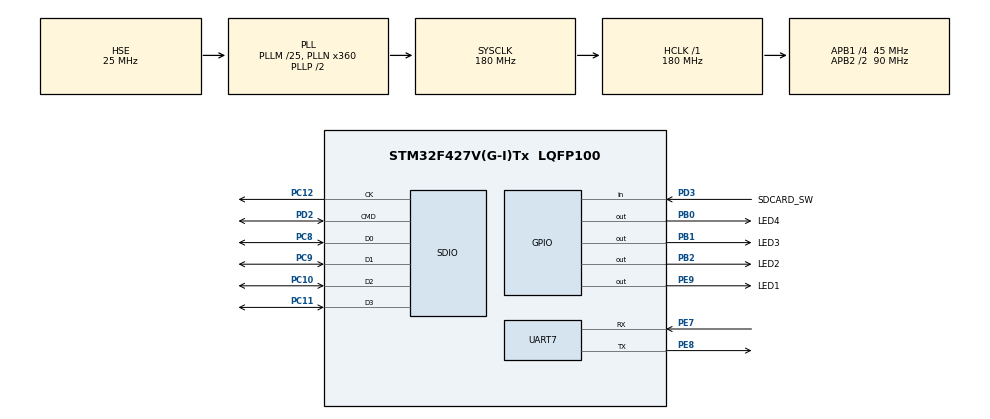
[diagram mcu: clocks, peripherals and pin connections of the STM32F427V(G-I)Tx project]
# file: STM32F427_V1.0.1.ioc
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Dma.Request0=SDIO_RX
Dma.Request1=SDIO_TX
Dma.SDIO_RX.0.Direction=DMA_PERIPH_TO_MEMORY
Dma.SDIO_RX.0.FIFOMode=DMA_FIFOMODE_ENABLE
Dma.SDIO_RX.0.FIFOThreshold=DMA_FIFO_THRESHOLD_FULL
Dma.SDIO_RX.0.Instance=DMA2_Stream3
Dma.SDIO_RX.0.MemBurst=DMA_MBURST_INC4
Dma.SDIO_RX.0.MemDataAlignment=DMA_MDATAALIGN_WORD
Dma.SDIO_RX.0.MemInc=DMA_MINC_ENABLE
Dma.SDIO_RX.0.Mode=DMA_PFCTRL
Dma.SDIO_RX.0.PeriphBurst=DMA_PBURST_INC4
Dma.SDIO_RX.0.PeriphDataAlignment=DMA_PDATAALIGN_WORD
Dma.SDIO_RX.0.PeriphInc=DMA_PINC_DISABLE
Dma.SDIO_RX.0.Priority=DMA_PRIORITY_LOW
Dma.SDIO_TX.1.Direction=DMA_MEMORY_TO_PERIPH
Dma.SDIO_TX.1.FIFOMode=DMA_FIFOMODE_ENABLE
Dma.SDIO_TX.1.FIFOThreshold=DMA_FIFO_THRESHOLD_FULL
Dma.SDIO_TX.1.Instance=DMA2_Stream6
Dma.SDIO_TX.1.MemBurst=DMA_MBURST_INC4
Dma.SDIO_TX.1.MemDataAlignment=DMA_MDATAALIGN_WORD
Dma.SDIO_TX.1.MemInc=DMA_MINC_ENABLE
Dma.SDIO_TX.1.Mode=DMA_PFCTRL
Dma.SDIO_TX.1.PeriphBurst=DMA_PBURST_INC4
Dma.SDIO_TX.1.PeriphDataAlignment=DMA_PDATAALIGN_WORD
Dma.SDIO_TX.1.PeriphInc=DMA_PINC_DISABLE
Dma.SDIO_TX.1.Priority=DMA_PRIORITY_LOW
FATFS.USE_DMA_CODE_SD=1
FATFS._CODE_PAGE=936
FATFS._USE_LFN=2
Mcu.Family=STM32F4
Mcu.Name=STM32F427V(G-I)Tx
Mcu.Package=LQFP100
NVIC.DMA2_Stream3_IRQn=true\:2\:0\:true\:false\:true\:false\:true
NVIC.DMA2_Stream6_IRQn=true\:2\:0\:true\:false\:true\:false\:true
NVIC.PriorityGroup=NVIC_PRIORITYGROUP_4
NVIC.SDIO_IRQn=true\:0\:0\:false\:false\:true\:true\:true
PA13.Mode=Serial_Wire
PA13.Signal=SYS_JTMS-SWDIO
PA14.Mode=Serial_Wire
PA14.Signal=SYS_JTCK-SWCLK
PB0.GPIO_Label=LED4
PB0.Signal=GPIO_Output
PB1.GPIO_Label=LED3
PB1.Signal=GPIO_Output
PB2/BOOT1.GPIO_Label=LED2
PB2/BOOT1.Signal=GPIO_Output
PC10.Mode=SD_4_bits_Wide_bus
PC10.Signal=SDIO_D2
PC11.Mode=SD_4_bits_Wide_bus
PC11.Signal=SDIO_D3
PC12.Mode=SD_4_bits_Wide_bus
PC12.Signal=SDIO_CK
PC14/OSC32_IN.Mode=LSE-External-Clock-Source
PC14/OSC32_IN.Signal=RCC_OSC32_IN
PC15/OSC32_OUT.Mode=LSE-External-Clock-Source
PC15/OSC32_OUT.Signal=RCC_OSC32_OUT
PC8.Mode=SD_4_bits_Wide_bus
PC8.Signal=SDIO_D0
PC9.Mode=SD_4_bits_Wide_bus
PC9.Signal=SDIO_D1
PD2.Mode=SD_4_bits_Wide_bus
PD2.Signal=SDIO_CMD
PD3.GPIO_Label=SDCARD_SW
PD3.Signal=GPIO_Input
PE7.Mode=Asynchronous
PE7.Signal=UART7_RX
PE8.Mode=Asynchronous
PE8.Signal=UART7_TX
PE9.GPIO_Label=LED1
PE9.Signal=GPIO_Output
PH0/OSC_IN.Mode=HSE-External-Clock-Source
PH0/OSC_IN.Signal=RCC_OSC_IN
PH1/OSC_OUT.Mode=HSE-External-Clock-Source
PH1/OSC_OUT.Signal=RCC_OSC_OUT
ProjectManager.HeapSize=0x400
ProjectManager.StackSize=0x1000
ProjectManager.TargetToolchain=MDK-ARM V5.27
RCC.48MHZClocksFreq_Value=45000000
RCC.AHBFreq_Value=180000000
RCC.APB1CLKDivider=RCC_HCLK_DIV4
RCC.APB1Freq_Value=45000000
RCC.APB1TimFreq_Value=90000000
RCC.APB2CLKDivider=RCC_HCLK_DIV2
RCC.APB2Freq_Value=90000000
RCC.APB2TimFreq_Value=180000000
RCC.CortexFreq_Value=180000000
RCC.HCLKFreq_Value=180000000
RCC.HSE_VALUE=25000000
RCC.HSI_VALUE=16000000
RCC.LSE_VALUE=32768
RCC.PLLM=25
RCC.PLLN=360
RCC.PLLQ=8
RCC.PLLSourceVirtual=RCC_PLLSOURCE_HSE
RCC.SYSCLKFreq_VALUE=180000000
RCC.SYSCLKSource=RCC_SYSCLKSOURCE_PLLCLK
RCC.VCOOutputFreq_Value=360000000
SDIO.ClockDiv=0
UART7.VirtualMode=Asynchronous
VP_FATFS_VS_SDIO.Mode=SDIO
board=custom

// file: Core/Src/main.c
/* USER CODE BEGIN Header */
/**
  ******************************************************************************
  * @file           : main.c
  * @brief          : Main program body
  ******************************************************************************
  * @attention
  *
  * <h2><center>&copy; Copyright (c) 2021 STMicroelectronics.
  * All rights reserved.</center></h2>
  *
  * This software component is licensed by ST under BSD 3-Clause license,
  * the "License"; You may not use this file except in compliance with the
  * License. You may obtain a copy of the License at:
  *                        opensource.org/licenses/BSD-3-Clause
  *
  ******************************************************************************
  */
/* USER CODE END Header */
#include "main.h"
#include "dma.h"
#include "fatfs.h"
#include "sdio.h"
#include "usart.h"
#include "gpio.h"

/* USER CODE BEGIN PV */
typedef enum {FAILED = 0, PASSED = !FAILED} TestStatus;
#define BLOCK_SIZE 512 // SD卡块大小
#define NUMBER_OF_BLOCKS 8 // 测试块数量 (小于 15)
#define WRITE_READ_ADDRESS 0x00002000 // 测试读写地址
__align(4) uint32_t Buffer_Block_Tx[BLOCK_SIZE*NUMBER_OF_BLOCKS]; // 写数据缓存
__align(4) uint32_t Buffer_Block_Rx[BLOCK_SIZE*NUMBER_OF_BLOCKS]; // 读数据缓存
HAL_StatusTypeDef sd_status; // HAL库函数操作 SD卡函数返回值：操作结果
TestStatus test_status; // 数据测试结果

FATFS fs; // Work area (file system object) for logical drive
FIL fil; // file objects
uint32_t byteswritten; /* File write counts */
uint32_t bytesread; /* File read counts */
uint8_t wtext[] = "\
This is STM32 working with FatFs,This is STM32 working with FatFs,This is STM32 working with FatFs,This is STM32 working with FatFs,This is STM32 working with FatFs,This is STM32 working with FatFs,This is STM32 working with FatFs  \
This is STM32 working with FatFs,This is STM32 working with FatFs,This is STM32 working with FatFs,This is STM32 working with FatFs,This is STM32 working with FatFs,This is STM32 working with FatFs,This is STM32 working with FatFs  \
This is STM32 working with FatFs,This is STM32 working with FatFs,This is STM32 working with FatFs,This is STM32 working with FatFs,This is STM32 working with FatFs,This is STM32 working with FatFs,This is STM32 working with FatFs  \
This is STM32 working with FatFs,This is STM32 working with FatFs,This is STM32 working with FatFs,This is STM32 working with FatFs,This is STM32 working with FatFs,This is STM32 working with FatFs,This is STM32 working with FatFs  \
This is STM32 working with FatFs,This is STM32 working with FatFs,This is STM32 working with FatFs,This is STM32 working with FatFs,This is STM32 working with FatFs,This is STM32 working with FatFs,This is STM32 working with FatFs  \
This is STM32 working with FatFs,This is STM32 working with FatFs,This is STM32 working with FatFs,This is STM32 working with FatFs,This is STM32 working with FatFs,This is STM32 working with FatFs,This is STM32 working with FatFs  \
This is STM32 working with FatFs,This is STM32 working with FatFs,This is STM32 working with FatFs,This is STM32 working with FatFs,This is STM32 working with FatFs,This is STM32 working with FatFs,This is STM32 working with FatFs  \
This is STM32 working with FatFs,This is STM32 working with FatFs,This is STM32 working with FatFs,This is STM32 working with FatFs,This is STM32 working with FatFs,This is STM32 working with FatFs,This is STM32 working with FatFs  \
This is STM32 working with FatFs,This is STM32 working with FatFs,This is STM32 working with FatFs,This is STM32 working with FatFs,This is STM32 working with FatFs,This is STM32 working with FatFs,This is STM32 working with FatFs  \
This is STM32 working with FatFs,This is STM32 working with FatFs,This is STM32 working with FatFs,This is STM32 working with FatFs,This is STM32 working with FatFs,This is STM32 working with FatFs,This is STM32 working with FatFs  \
This is STM32 working with FatFs,This is STM32 working with FatFs,This is STM32 working with FatFs,This is STM32 working with FatFs,This is STM32 working with FatFs,This is STM32 working with FatFs,This is STM32 working with FatFs  \
This is STM32 working with FatFs,This is STM32 working with FatFs,This is STM32 working with FatFs,This is STM32 working with FatFs,This is STM32 working with FatFs,This is STM32 working with FatFs,This is STM32 working with FatFs  \
This is STM32 working with FatFs,This is STM32 working with FatFs,This is STM32 working with FatFs,This is STM32 working with FatFs,This is STM32 working with FatFs,This is STM32 working with FatFs,This is STM32 working with FatFs  \
This is STM32 working with FatFs,This is STM32 working with FatFs,This is STM32 working with FatFs,This is STM32 working with FatFs,This is STM32 working with FatFs,This is STM32 working with FatFs,This is STM32 working with FatFs  \
This is STM32 working with FatFs,This is STM32 working with FatFs,This is STM32 working with FatFs,This is STM32 working with FatFs,This is STM32 working with FatFs,This is STM32 working with FatFs,This is STM32 working with FatFs  \
This is STM32 working with FatFs,This is STM32 working with FatFs,This is STM32 working with FatFs,This is STM32 working with FatFs,This is STM32 working with FatFs,This is STM32 working with FatFs,This is STM32 working with FatFs  \
This is STM32 working with FatFs,This is STM32 working with FatFs,This is STM32 working with FatFs,This is STM32 working with FatFs,This is STM32 working with FatFs,This is STM32 working with FatFs,This is STM32 working with FatFs  \
This is STM32 working with FatFs,This is STM32 working with FatFs,This is STM32 working with FatFs,This is STM32 working with FatFs,This is STM32 working with FatFs,This is STM32 working with FatFs,This is STM32 working with FatFs  \
This is STM32 working with FatFs,This is STM32 working with FatFs,This is STM32 working with FatFs,This is STM32 working with FatFs,This is STM32 working with FatFs,This is STM32 working with FatFs,This is STM32 working with FatFs  \
This is STM32 working with FatFs,This is STM32 working with FatFs,This is STM32 working with FatFs,This is STM32 working with FatFs,This is STM32 working with FatFs,This is STM32 working with FatFs,This is STM32 working with FatFs  \
This is STM32 working with FatFs,This is STM32 working with FatFs,This is STM32 working with FatFs,This is STM32 working with FatFs,This is STM32 working with FatFs,This is STM32 working with FatFs,This is STM32 working with FatFs  \
This is STM32 working with FatFs,This is STM32 working with FatFs,This is STM32 working with FatFs,This is STM32 working with FatFs,This is STM32 working with FatFs,This is STM32 working with FatFs,This is STM32 working with FatFs  \
This is STM32 working with FatFs,This is STM32 working with FatFs,This is STM32 working with FatFs,This is STM32 working with FatFs,This is STM32 working with FatFs,This is STM32 working with FatFs,This is STM32 working with FatFs  \
This is STM32 working with FatFs,This is STM32 working with FatFs,This is STM32 working with FatFs,This is STM32 working with FatFs,This is STM32 working with FatFs,This is STM32 working with FatFs,This is STM32 working with FatFs  \
This is STM32 working with FatFs,This is STM32 working with FatFs,This is STM32 working with FatFs,This is STM32 working with FatFs,This is STM32 working with FatFs,This is STM32 working with FatFs,This is STM32 working with FatFs  \
This is STM32 working with FatFs,This is STM32 working with FatFs,This is STM32 working with FatFs,This is STM32 working with FatFs,This is STM32 working with FatFs,This is STM32 working with FatFs,This is STM32 working with FatFs  \
This is STM32 working with FatFs,This is STM32 working with FatFs,This is STM32 working with FatFs,This is STM32 working with FatFs,This is STM32 working with FatFs,This is STM32 working with FatFs,This is STM32 working with FatFs  \
This is STM32 working with FatFs,This is STM32 working with FatFs,This is STM32 working with FatFs,This is STM32 working with FatFs,This is STM32 working with FatFs,This is STM32 working with FatFs,This is STM32 working with FatFs  \
This is STM32 working with FatFs,This is STM32 working with FatFs,This is STM32 working with FatFs,This is STM32 working with FatFs,This is STM32 working with FatFs,This is STM32 working with FatFs,This is STM32 working with FatFs  \
This is STM32 working with FatFs,This is STM32 working with FatFs,This is STM32 working with FatFs,This is STM32 working with FatFs,This is STM32 working with FatFs,This is STM32 working with FatFs,This is STM32 working with FatFs  \
This is STM32 working with FatFs,This is STM32 working with FatFs,This is STM32 working with FatFs,This is STM32 working with FatFs,This is STM32 working with FatFs,This is STM32 working with FatFs,This is STM32 working with FatFs  \
This is STM32 working with FatFs,This is STM32 working with FatFs,This is STM32 working with FatFs,This is STM32 working with FatFs,This is STM32 working with FatFs,This is STM32 working with FatFs,This is STM32 working with FatFs  \
This is STM32 working with FatFs,This is STM32 working with FatFs,This is STM32 working with FatFs,This is STM32 working with FatFs,This is STM32 working with FatFs,This is STM32 working with FatFs,This is STM32 working with FatFs  \
This is STM32 working with FatFs,This is STM32 working with FatFs,This is STM32 working with FatFs,This is STM32 working with FatFs,This is STM32 working with FatFs,This is STM32 working with FatFs,This is STM32 working with FatFs  \
This is STM32 working with FatFs,This is STM32 working with FatFs,This is STM32 working with FatFs,This is STM32 working with FatFs,This is STM32 working with FatFs,This is STM32 working with FatFs,This is STM32 working with FatFs  \
This is STM32 working with FatFs,This is STM32 working with FatFs,This is STM32 working with FatFs,This is STM32 working with FatFs,This is STM32 working with FatFs,This is STM32 working with FatFs,This is STM32 working with FatFs  \
This is STM32 working with FatFs,This is STM32 working with FatFs,This is STM32 working with FatFs,This is STM32 working with FatFs,This is STM32 working with FatFs,This is STM32 working with FatFs,This is STM32 working with FatFs  \
This is STM32 working with FatFs,This is STM32 working with FatFs,This is STM32 working with FatFs,This is STM32 working with FatFs,This is STM32 working with FatFs,This is STM32 working with FatFs,This is STM32 working with FatFs  \
This is STM32 working with FatFs,This is STM32 working with FatFs,This is STM32 working with FatFs,This is STM32 working with FatFs,This is STM32 working with FatFs,This is STM32 working with FatFs,This is STM32 working with FatFs  \
This is STM32 working with FatFs,This is STM32 working with FatFs,This is STM32 working with FatFs,This is STM32 working with FatFs,This is STM32 working with FatFs,This is STM32 working with FatFs,This is STM32 working with FatFs  \
This is STM32 working with FatFs,This is STM32 working with FatFs,This is STM32 working with FatFs,This is STM32 working with FatFs,This is STM32 working with FatFs,This is STM32 working with FatFs,This is STM32 working with FatFs  \
This is STM32 working with FatFs,This is STM32 working with FatFs,This is STM32 working with FatFs,This is STM32 working with FatFs,This is STM32 working with FatFs,This is STM32 working with FatFs,This is STM32 working with FatFs  \
This is STM32 working with FatFs,This is STM32 working with FatFs,This is STM32 working with FatFs,This is STM32 working with FatFs,This is STM32 working with FatFs,This is STM32 working with FatFs,This is STM32 working with FatFs  \
This is STM32 working with FatFs,This is STM32 working with FatFs,This is STM32 working with FatFs,This is STM32 working with FatFs,This is STM32 working with FatFs,This is STM32 working with FatFs,This is STM32 working with FatFs  \
This is STM32 working with FatFs,This is STM32 working with FatFs,This is STM32 working with FatFs,This is STM32 working with FatFs,This is STM32 working with FatFs,This is STM32 working with FatFs,This is STM32 working with FatFs  \
This is STM32 working with FatFs,This is STM32 working with FatFs,This is STM32 working with FatFs,This is STM32 working with FatFs,This is STM32 working with FatFs,This is STM32 working with FatFs,This is STM32 working with FatFs  \
This is STM32 working with FatFs,This is STM32 working with FatFs,This is STM32 working with FatFs,This is STM32 working with FatFs,This is STM32 working with FatFs,This is STM32 working with FatFs,This is STM32 working with FatFs  \
This is STM32 working with FatFs,This is STM32 working with FatFs,This is STM32 working with FatFs,This is STM32 working with FatFs,This is STM32 working with FatFs,This is STM32 working with FatFs,This is STM32 working with FatFs  \
This is STM32 working with FatFs,This is STM32 working with FatFs,This is STM32 working with FatFs,This is STM32 working with FatFs,This is STM32 working with FatFs,This is STM32 working with FatFs,This is STM32 working with FatFs  \
This is STM32 working with FatFs,This is STM32 working with FatFs,This is STM32 working with FatFs,This is STM32 working with FatFs,This is STM32 working with FatFs,This is STM32 working with FatFs,This is STM32 working with FatFs  \
This is STM32 working with FatFs,This is STM32 working with FatFs,This is STM32 working with FatFs,This is STM32 working with FatFs,This is STM32 working with FatFs,This is STM32 working with FatFs,This is STM32 working with FatFs  \
This is STM32 working with FatFs,This is STM32 working with FatFs,This is STM32 working with FatFs,This is STM32 working with FatFs,This is STM32 working with FatFs,This is STM32 working with FatFs,This is STM32 working with FatFs  \
This is STM32 working with FatFs,This is STM32 working with FatFs,This is STM32 working with FatFs,This is STM32 working with FatFs,This is STM32 working with FatFs,This is STM32 working with FatFs,This is STM32 working with FatFs  \
This is STM32 working with FatFs,This is STM32 working with FatFs,This is STM32 working with FatFs,This is STM32 working with FatFs,This is STM32 working with FatFs,This is STM32 working with FatFs,This is STM32 working with FatFs  \
This is STM32 working with FatFs,This is STM32 working with FatFs,This is STM32 working with FatFs,This is STM32 working with FatFs,This is STM32 working with FatFs,This is STM32 working with FatFs,This is STM32 working with FatFs  \
This is STM32 working with FatFs,This is STM32 working with FatFs,This is STM32 working with FatFs,This is STM32 working with FatFs,This is STM32 working with FatFs,This is STM32 working with FatFs,This is STM32 working with FatFs  \
This is STM32 working with FatFs,This is STM32 working with FatFs,This is STM32 working with FatFs,This is STM32 working with FatFs,This is STM32 working with FatFs,This is STM32 working with FatFs,This is STM32 working with FatFs  \
This is STM32 working with FatFs,This is STM32 working with FatFs,This is STM32 working with FatFs,This is STM32 working with FatFs,This is STM32 working with FatFs,This is STM32 working with FatFs,This is STM32 working with FatFs  \
This is STM32 working with FatFs,This is STM32 working with FatFs,This is STM32 working with FatFs,This is STM32 working with FatFs,This is STM32 working with FatFs,This is STM32 working with FatFs,This is STM32 working with FatFs  \
This is STM32 working with FatFs,This is STM32 working with FatFs,This is STM32 working with FatFs,This is STM32 working with FatFs,This is STM32 working with FatFs,This is STM32 working with FatFs,This is STM32 working with FatFs  \
This is STM32 working with FatFs,This is STM32 working with FatFs,This is STM32 working with FatFs,This is STM32 working with FatFs,This is STM32 working with FatFs,This is STM32 working with FatFs,This is STM32 working with FatFs  \
This is STM32 working with FatFs,This is STM32 working with FatFs,This is STM32 working with FatFs,This is STM32 working with FatFs,This is STM32 working with FatFs,This is STM32 working with FatFs,This is STM32 working with FatFs  \
This is STM32 working with FatFs,This is STM32 working with FatFs,This is STM32 working with FatFs,This is STM32 working with FatFs,This is STM32 working with FatFs,This is STM32 working with FatFs,This is STM32 working with FatFs  \
This is STM32 working with FatFs,This is STM32 working with FatFs,This is STM32 working with FatFs,This is STM32 working with FatFs,This is STM32 working with FatFs,This is STM32 working with FatFs,This is STM32 working with FatFs  \
This is STM32 working with FatFs,This is STM32 working with FatFs,This is STM32 working with FatFs,This is STM32 working with FatFs,This is STM32 working with FatFs,This is STM32 working with FatFs,This is STM32 working with FatFs  \
This is STM32 working with FatFs,This is STM32 working with FatFs,This is STM32 working with FatFs,This is STM32 working with FatFs,This is STM32 working with FatFs,This is STM32 working with FatFs,This is STM32 working with FatFs  \
This is STM32 working with FatFs,This is STM32 working with FatFs,This is STM32 working with FatFs,This is STM32 working with FatFs,This is STM32 working with FatFs,This is STM32 working with FatFs,This is STM32 working with FatFs  \
This is STM32 working with FatFs,This is STM32 working with FatFs,This is STM32 working with FatFs,This is STM32 working with FatFs,This is STM32 working with FatFs,This is STM32 working with FatFs,This is STM32 working with FatFs  \
This is STM32 working with FatFs,This is STM32 working with FatFs,This is STM32 working with FatFs,This is STM32 working with FatFs,This is STM32 working with FatFs,This is STM32 working with FatFs,This is STM32 working with FatFs  \
This is STM32 working with FatFs,This is STM32 working with FatFs,This is STM32 working with FatFs,This is STM32 working with FatFs,This is STM32 working with FatFs,This is STM32 working with FatFs,This is STM32 working with FatFs  \
This is STM32 working with FatFs,This is STM32 working with FatFs,This is STM32 working with FatFs,This is STM32 working with FatFs,This is STM32 working with FatFs,This is STM32 working with FatFs,This is STM32 working with FatFs  \
This is STM32 working with FatFs,This is STM32 working with FatFs,This is STM32 working with FatFs,This is STM32 working with FatFs,This is STM32 working with FatFs,This is STM32 working with FatFs,This is STM32 working with FatFs  \
This is STM32 working with FatFs,This is STM32 working with FatFs,This is STM32 working with FatFs,This is STM32 working with FatFs,This is STM32 working with FatFs,This is STM32 working with FatFs,This is STM32 working with FatFs"; /* File write buffer */

//uint8_t wtext1[buf_size*1024]={0};
//uint8_t wtext2[buf_size*1024]={0};

uint8_t wtext1[]="1111this is a test string\r\n";
uint8_t wtext2[]="2222this is a test string\r\n";

DAT_type ha_dat;
char hd_buf[1024]={0};

uint8_t rtext[100]; /* File read buffers */
char filename[] = "STM32cube.txt";

#define	buf_size	3200	//缓冲区大小，

DAT_ascii_type dat_ascii[buf_size];

/* USER CODE END PV */

void SystemClock_Config(void);

/* USER CODE BEGIN 0 */

uint8_t eBuffercmp(uint32_t* pBuffer, uint32_t BufferLength)
{
	while (BufferLength--)
	{ /* SD卡擦除后的可能值为 0xff或 0 */
		if ((*pBuffer != 0xFFFFFFFF) && (*pBuffer != 0))
		{
			return 0;
		}
		pBuffer++;
	} return 1;
}

void SD_EraseTest(void)
{
	sd_status=HAL_SD_Erase(&hsd,WRITE_READ_ADDRESS,WRITE_READ_ADDRESS+NUMBER_OF_BLOCKS*4);
	log_info("erase status:%d\r\n",sd_status);
	HAL_Delay(500);
	if (sd_status == HAL_OK)
	{
		sd_status = HAL_SD_ReadBlocks(&hsd,(uint8_t *)Buffer_Block_Rx,WRITE_READ_ADDRESS,NUMBER_OF_BLOCKS,0xffff);
		log_info("erase read status:%d\r\n",sd_status);
		test_status = eBuffercmp(Buffer_Block_Rx,BLOCK_SIZE*NUMBER_OF_BLOCKS);
		if(test_status == PASSED)
			log_info("》擦除测试成功！ ！\r\n" );
		else
			log_info("》擦除不成功，数据出错！ ！\r\n" );
	}
	else
	{
		log_info("》擦除测试失败！部分 SD不支持擦除，只要读写测试通过即可 \r\n" );

	}
}

void Fill_Buffer(uint32_t *pBuffer, uint32_t BufferLength, uint32_t Offset)
{
	uint32_t index = 0; /* 填充数据 */
	for (index = 0; index < BufferLength; index++ )
	{
		pBuffer[index] = index + Offset;
	}
}

uint8_t Buffercmp(uint32_t* pBuffer1, uint32_t* pBuffer2, uint32_t BufferLength)
{
	while (BufferLength--)
	{
		if(BufferLength%50==0)
		{
			log_info("buf:0x%08X 0x%08X\r\n",*pBuffer1,*pBuffer2);
		}
		if (*pBuffer1 != *pBuffer2)
		{
			return 0;
		}
		pBuffer1++;
		pBuffer2++;
	}
	return 1;
}

void SD_Write_Read_Test(void)
{
	int i,j = 0;
	Fill_Buffer(Buffer_Block_Tx,BLOCK_SIZE*NUMBER_OF_BLOCKS, 0x6666);
	sd_status = HAL_SD_WriteBlocks_DMA(&hsd,(uint8_t *)Buffer_Block_Tx,WRITE_READ_ADDRESS,NUMBER_OF_BLOCKS);
	log_info("write status:%d\r\n",sd_status);

	HAL_Delay(500);

	sd_status = HAL_SD_ReadBlocks_DMA(&hsd,(uint8_t *)Buffer_Block_Rx,WRITE_READ_ADDRESS,NUMBER_OF_BLOCKS);
	log_info("read status:%d\r\n",sd_status);
	test_status = Buffercmp(Buffer_Block_Tx, Buffer_Block_Rx, BLOCK_SIZE*NUMBER_OF_BLOCKS/4);
	if(test_status == PASSED)
	{
		log_info("》读写测试成功！ ！\r\n" );
		for(i=0;i<BLOCK_SIZE*NUMBER_OF_BLOCKS/4;i++)
		{
			if(j==8)
			{
				log_info("\r\n");
				j=0;
			}
			log_info("%08x ",Buffer_Block_Rx[i]);
			j++;
		}
		log_info("\r\n");
	}
	else
	{
		log_info("》读写测试失败！ ！\r\n " );
	}
}
void Fatfs_RW_test2(void)
{
	uint32_t systick=0,len=0;
	char lrcr[2]="\r\n";
	short ch[8]={3,65,888,1999,5555,6066,6115,3276};//所采集的数据放大1000倍，再加3276
	float speed=0;

	log_info("\r\n ****** FatFs Example ******\r\n\r\n");
	/*##1 Register the file system object to the FatFs module ##############*/
	retSD = f_mount(&fs, "", 1);
	if(retSD){log_info(" mount error : %d \r\n",retSD);Error_Handler();}
	else{log_info(" mount sucess!!! \r\n");}

	/*##2 Create and Open new text file objects with write access ######*/
	retSD = f_open(&fil, filename, FA_CREATE_ALWAYS | FA_WRITE);
	if(retSD) {log_info(" open file error : %d\r\n",retSD);}
	else {log_info(" open file sucess!!! \r\n");}

	ha_dat.dat[0].ch_dat[0]=0;
	ha_dat.dat[0].ch_dat[1]=1;
	ha_dat.dat[0].ch_dat[2]=2;
	ha_dat.dat[0].ch_dat[3]=3;
	ha_dat.dat[0].ch_dat[4]=4;
	ha_dat.dat[0].ch_dat[5]=5;
	ha_dat.dat[0].ch_dat[6]=6;
	ha_dat.dat[0].ch_dat[7]=7;

	ha_dat.dat[1].ch_dat[0]=8;
	ha_dat.dat[1].ch_dat[1]=9;
	ha_dat.dat[1].ch_dat[2]=10;
	ha_dat.dat[1].ch_dat[3]=11;
	ha_dat.dat[1].ch_dat[4]=12;
	ha_dat.dat[1].ch_dat[5]=13;
	ha_dat.dat[1].ch_dat[6]=14;
	ha_dat.dat[1].ch_dat[7]=15;

	//dat_ascii[0].dat

	{
		//int i=0;
		for(int i=0;i<buf_size;i++)
		{
			len=sprintf(&dat_ascii[i].dat[0],"%04d %04d %04d %04d %04d %04d %04d %04d\r\n",ch[0],ch[1],ch[2],ch[3],ch[4],ch[5],ch[6],ch[7]);
		}
	}
//	len=sprintf(&dat_ascii[0].dat[0],"%04d %04d %04d %04d %04d %04d %04d %04d\r\n",ch[0],ch[1],ch[2],ch[3],ch[4],ch[5],ch[6],ch[7]);
//	log_info("len=%d\r\n",len);
//	len=sprintf(&dat_ascii[1].dat[0],"%04d %04d %04d %04d %04d %04d %04d %04d\r\n",ch[7],ch[6],ch[5],ch[4],ch[3],ch[2],ch[1],ch[0]);
//	log_info("len=%d\r\n",len);
//	len=sprintf(&dat_ascii[2].dat[0],"%04d %04d %04d %04d %04d %04d %04d %04d\r\n",ch[3],ch[2],ch[1],ch[0],ch[7],ch[6],ch[5],ch[4]);
//	log_info("len=%d\r\n",len);

	//f_lseek(&fil, fil.fptr);
	/*##3 向文件中写入数据 ###############################*/
//	retSD = f_write(&fil, wtext1, sizeof(wtext1), (void *)&byteswritten);f_lseek(&fil, fil.fptr-1);
//	retSD = f_write(&fil, wtext2, sizeof(wtext2), (void *)&byteswritten);f_lseek(&fil, fil.fptr-1);
//	retSD = f_write(&fil, wtext1, sizeof(wtext1), (void *)&byteswritten);f_lseek(&fil, fil.fptr-1);
//	retSD = f_write(&fil, wtext2, sizeof(wtext2), (void *)&byteswritten);f_lseek(&fil, fil.fptr-1);
//	retSD = f_write(&fil, wtext1, sizeof(wtext1), (void *)&byteswritten);f_lseek(&fil, fil.fptr-1);
//	retSD = f_write(&fil, wtext2, sizeof(wtext2), (void *)&byteswritten);f_lseek(&fil, fil.fptr-1);
//	retSD = f_write(&fil, wtext1, sizeof(wtext1), (void *)&byteswritten);f_lseek(&fil, fil.fptr-1);
//	retSD = f_write(&fil, wtext2, sizeof(wtext2), (void *)&byteswritten);f_lseek(&fil, fil.fptr-1);
//	retSD = f_write(&fil, wtext2, sizeof(wtext2), (void *)&byteswritten);f_lseek(&fil, fil.fptr-1);

	systick=HAL_GetTick();
	retSD = f_write(&fil, (void *)&dat_ascii[0].dat[0], sizeof(dat_ascii), (void *)&byteswritten);f_lseek(&fil, fil.fptr);//retSD = f_write(&fil, lrcr, sizeof(lrcr), (void *)&byteswritten);f_lseek(&fil, fil.fptr-1);
	retSD = f_write(&fil, (void *)&dat_ascii[0].dat[0], sizeof(dat_ascii), (void *)&byteswritten);f_lseek(&fil, fil.fptr);//retSD = f_write(&fil, lrcr, sizeof(lrcr), (void *)&byteswritten);f_lseek(&fil, fil.fptr-1);
	retSD = f_write(&fil, (void *)&dat_ascii[0].dat[0], sizeof(dat_ascii), (void *)&byteswritten);f_lseek(&fil, fil.fptr);//retSD = f_write(&fil, lrcr, sizeof(lrcr), (void *)&byteswritten);f_lseek(&fil, fil.fptr-1);
	retSD = f_write(&fil, (void *)&dat_ascii[0].dat[0], sizeof(dat_ascii), (void *)&byteswritten);f_lseek(&fil, fil.fptr);//retSD = f_write(&fil, lrcr, sizeof(lrcr), (void *)&byteswritten);f_lseek(&fil, fil.fptr-1);
	retSD = f_write(&fil, (void *)&dat_ascii[0].dat[0], sizeof(dat_ascii), (void *)&byteswritten);f_lseek(&fil, fil.fptr);//retSD = f_write(&fil, lrcr, sizeof(lrcr), (void *)&byteswritten);f_lseek(&fil, fil.fptr-1);
	retSD = f_write(&fil, (void *)&dat_ascii[0].dat[0], sizeof(dat_ascii), (void *)&byteswritten);f_lseek(&fil, fil.fptr);//retSD = f_write(&fil, lrcr, sizeof(lrcr), (void *)&byteswritten);f_lseek(&fil, fil.fptr-1);
	retSD = f_write(&fil, (void *)&dat_ascii[0].dat[0], sizeof(dat_ascii), (void *)&byteswritten);f_lseek(&fil, fil.fptr);//retSD = f_write(&fil, lrcr, sizeof(lrcr), (void *)&byteswritten);f_lseek(&fil, fil.fptr-1);

	systick=HAL_GetTick()-systick;
	speed=1.0*sizeof(dat_ascii[0].dat)*buf_size*7/1024/1024/(systick/1000.0);
	log_info("retSD:%d,byteswritten:%.3fKB,used time:%dms,signal wtext_len:%.3fKB,write speed:%.3fMB/s\r\n",retSD,1.0*sizeof(dat_ascii[0].dat)*buf_size*7/1024,systick,1.0*sizeof(dat_ascii)/1024,speed);

	//len=sprintf(hd_buf,"%s",&ha_dat.dat[0].ch_dat[0]);
	//log_info("len=%d\r\n",len);
	//retSD = f_write(&fil, (void *)&ha_dat, sizeof(ha_dat), (void *)&byteswritten);f_lseek(&fil, fil.fptr-1);

	/*##4 Close the open text files ################################*/
	retSD = f_close(&fil);
	if(retSD){log_info(" close error : %d\r\n",retSD);}
	else{log_info(" close sucess!!! \r\n");}

//	/*##5 Open the text files object with read access ##############*/
//	retSD = f_open(&fil, filename, FA_READ);
//	if(retSD) {log_info(" open file error : %d\r\n",retSD); }
//	else {log_info(" open file sucess!!! \r\n");}
//
//	/*##6 Read data from the text files ##########################*/
//	retSD = f_read(&fil, rtext, sizeof(rtext), (UINT*)&bytesread);
//	if(retSD){log_info(" read error!!! %d\r\n",retSD);}
//	else { log_info(" read sucess!!! \r\n"); log_info(" read Data : %s\r\n",rtext); }
//
//	/*##7 Close the open text files ############################*/
//	retSD = f_close(&fil);
//	if(retSD) {log_info(" close error!!! %d\r\n",retSD);}
//	else {log_info(" close sucess!!! \r\n");}
//
//	/*##8 Compare read data with the expected data ############*/
//	if(bytesread == byteswritten) { log_info(" FatFs is working well!!!\r\n"); }
}

void Fatfs_RW_test(void)
{
	uint32_t systick=0;
	float speed=0;

	log_info("\r\n ****** FatFs Example ******\r\n\r\n");
	/*##1 Register the file system object to the FatFs module ##############*/
	retSD = f_mount(&fs, "", 1);
	if(retSD)
	{
		log_info(" mount error : %d \r\n",retSD);
		Error_Handler();
	}
	else
	{
		log_info(" mount sucess!!! \r\n");
	}

	/*##2 Create and Open new text file objects with write access ######*/
	retSD = f_open(&fil, filename, FA_CREATE_ALWAYS | FA_WRITE);
	if(retSD)
	{
		log_info(" open file error : %d\r\n",retSD);
	}
	else
	{
		log_info(" open file sucess!!! \r\n");
	}

	/*##3 Write data to the text files ###############################*/
	systick=HAL_GetTick();
	retSD = f_write(&fil, wtext, sizeof(wtext), (void *)&byteswritten);
	systick=HAL_GetTick()-systick;
	if(systick!=0)
	{
		speed=1.0*sizeof(wtext)/1024/1024/(systick/1000.0);

		log_info("retSD:%d,byteswritten:%d,used time:%d,wtext_len:%d,speed:%fMB/s\r\n",retSD,byteswritten,systick,sizeof(wtext),speed);
	}

	if(retSD)
	{
		log_info(" write file error : %d\r\n",retSD);
	}
	else
	{
		log_info(" write file sucess!!! \r\n");
		log_info(" write Data : %s\r\n",wtext);
	}

	/*##4 Close the open text files ################################*/
	retSD = f_close(&fil);
	if(retSD)
	{
		log_info(" close error : %d\r\n",retSD);
	}
	else
	{
		log_info(" close sucess!!! \r\n");
	}

	/*##5 Open the text files object with read access ##############*/
	retSD = f_open(&fil, filename, FA_READ);
	if(retSD)
	{
		log_info(" open file error : %d\r\n",retSD);
	}
	else
	{
		log_info(" open file sucess!!! \r\n");
	}

	/*##6 Read data from the text files ##########################*/
	retSD = f_read(&fil, rtext, sizeof(rtext), (UINT*)&bytesread);
	if(retSD)
	{
		log_info(" read error!!! %d\r\n",retSD);
	}
	else
	{
		log_info(" read sucess!!! \r\n");
		log_info(" read Data : %s\r\n",rtext);
	}

	/*##7 Close the open text files ############################*/
	retSD = f_close(&fil);
	if(retSD)
	{
		log_info(" close error!!! %d\r\n",retSD);
	}
	else
	{
		log_info(" close sucess!!! \r\n");
	}

	/*##8 Compare read data with the expected data ############*/
	if(bytesread == byteswritten)
	{
		log_info(" FatFs is working well!!!\r\n");
	}
	else
	{
		log_info(" bytesread:%d,byteswritten:%d\r\n",bytesread,byteswritten);
	}
}

//HAL_StatusTypeDef SD_DMAConfigRx(SD_HandleTypeDef *hsd)
//{
//	HAL_StatusTypeDef status = HAL_ERROR;
//
////	hdma_sdio_rx.Instance = DMA2_Stream3;
////    hdma_sdio_rx.Init.Channel = DMA_CHANNEL_4;
////	//hdma_sdio_rx.Init.Request = DMA_REQUEST_7;
////	hdma_sdio_rx.Init.Direction = DMA_PERIPH_TO_MEMORY;
////	hdma_sdio_rx.Init.PeriphInc = DMA_PINC_DISABLE;
////	hdma_sdio_rx.Init.MemInc = DMA_MINC_ENABLE;
////	hdma_sdio_rx.Init.PeriphDataAlignment = DMA_PDATAALIGN_WORD;
////	hdma_sdio_rx.Init.MemDataAlignment = DMA_MDATAALIGN_WORD;
////	hdma_sdio_rx.Init.Mode = DMA_PFCTRL;
////	hdma_sdio_rx.Init.Priority = DMA_PRIORITY_LOW;
//
//	//__HAL_LINKDMA(hsd,hdmarx,hdma_sdio_rx);
//	//HAL_DMA_Abort(&hdma_sdio_rx);
//	HAL_DMA_DeInit(&hdma_sdio_tx);//注意这里！！！ DeInit的是另一个通道！！！
//	//status = HAL_DMA_Init(&hdma_sdio_rx);
//	return (status);
//}

//HAL_StatusTypeDef SD_DMAConfigTx(SD_HandleTypeDef *hsd)
//{
//	HAL_StatusTypeDef status;
//
////	hdma_sdio_tx.Instance = DMA2_Stream6;
////    hdma_sdio_tx.Init.Channel = DMA_CHANNEL_4;
////	//hdma_sdio_tx.Init.Request = DMA_REQUEST_7;
////	hdma_sdio_tx.Init.Direction = DMA_MEMORY_TO_PERIPH;
////	hdma_sdio_tx.Init.PeriphInc = DMA_PINC_DISABLE;
////	hdma_sdio_tx.Init.MemInc = DMA_MINC_ENABLE;
////	hdma_sdio_tx.Init.PeriphDataAlignment = DMA_PDATAALIGN_WORD;
////	hdma_sdio_tx.Init.MemDataAlignment = DMA_MDATAALIGN_WORD;
////	hdma_sdio_tx.Init.Mode = DMA_PFCTRL;//这里 NORMAL或其他都可以，无所谓
////	hdma_sdio_tx.Init.Priority = DMA_PRIORITY_LOW;
//
//	//__HAL_LINKDMA(hsd, hdmatx, hdma_sdio_tx);
//	//HAL_DMA_Abort(&hdma_sdio_tx);
//	HAL_DMA_DeInit(&hdma_sdio_rx); //注意这里！！！ DeInit的是另一个通道！！！
//	//status = HAL_DMA_Init(&hdma_sdio_tx);
//	return (status);
//}

/* USER CODE END 0 */

int main(void)
{

  /* MCU Configuration--------------------------------------------------------*/

  /* Reset of all peripherals, Initializes the Flash interface and the Systick. */
  HAL_Init();

  /* Configure the system clock */
  SystemClock_Config();

  /* Initialize all configured peripherals */
  MX_GPIO_Init();
  MX_DMA_Init();
  MX_SDIO_SD_Init();
  MX_UART7_Init();
  MX_FATFS_Init();
  /* USER CODE BEGIN 2 */
	log_info("Hardware Init OK!\r\n");
	Get_CardInfo();
	//log_info("wtext_len:%d\r\n",sizeof(wtext));
	//SD_EraseTest();
	//SD_Write_Read_Test();
	//Fatfs_RW_test();
	Fatfs_RW_test2();
  /* USER CODE END 2 */

  /* Infinite loop */
  while (1)
  {

  }
}

void SystemClock_Config(void)
{
  RCC_OscInitTypeDef RCC_OscInitStruct = {0};
  RCC_ClkInitTypeDef RCC_ClkInitStruct = {0};

  /** Configure the main internal regulator output voltage
  */
  __HAL_RCC_PWR_CLK_ENABLE();
  __HAL_PWR_VOLTAGESCALING_CONFIG(PWR_REGULATOR_VOLTAGE_SCALE1);
  /** Initializes the RCC Oscillators according to the specified parameters
  * in the RCC_OscInitTypeDef structure.
  */
  RCC_OscInitStruct.OscillatorType = RCC_OSCILLATORTYPE_HSE;
  RCC_OscInitStruct.HSEState = RCC_HSE_BYPASS;
  RCC_OscInitStruct.PLL.PLLState = RCC_PLL_ON;
  RCC_OscInitStruct.PLL.PLLSource = RCC_PLLSOURCE_HSE;
  RCC_OscInitStruct.PLL.PLLM = 25;
  RCC_OscInitStruct.PLL.PLLN = 360;
  RCC_OscInitStruct.PLL.PLLP = RCC_PLLP_DIV2;
  RCC_OscInitStruct.PLL.PLLQ = 8;
  if (HAL_RCC_OscConfig(&RCC_OscInitStruct) != HAL_OK)
  {
    Error_Handler();
  }
  /** Activate the Over-Drive mode
  */
  if (HAL_PWREx_EnableOverDrive() != HAL_OK)
  {
    Error_Handler();
  }
  /** Initializes the CPU, AHB and APB buses clocks
  */
  RCC_ClkInitStruct.ClockType = RCC_CLOCKTYPE_HCLK|RCC_CLOCKTYPE_SYSCLK
                              |RCC_CLOCKTYPE_PCLK1|RCC_CLOCKTYPE_PCLK2;
  RCC_ClkInitStruct.SYSCLKSource = RCC_SYSCLKSOURCE_PLLCLK;
  RCC_ClkInitStruct.AHBCLKDivider = RCC_SYSCLK_DIV1;
  RCC_ClkInitStruct.APB1CLKDivider = RCC_HCLK_DIV4;
  RCC_ClkInitStruct.APB2CLKDivider = RCC_HCLK_DIV2;

  if (HAL_RCC_ClockConfig(&RCC_ClkInitStruct, FLASH_LATENCY_5) != HAL_OK)
  {
    Error_Handler();
  }
}

void Error_Handler(void)
{
  __disable_irq();
  while (1)
  {
  }
}

/************************ (C) COPYRIGHT STMicroelectronics *****END OF FILE****/
